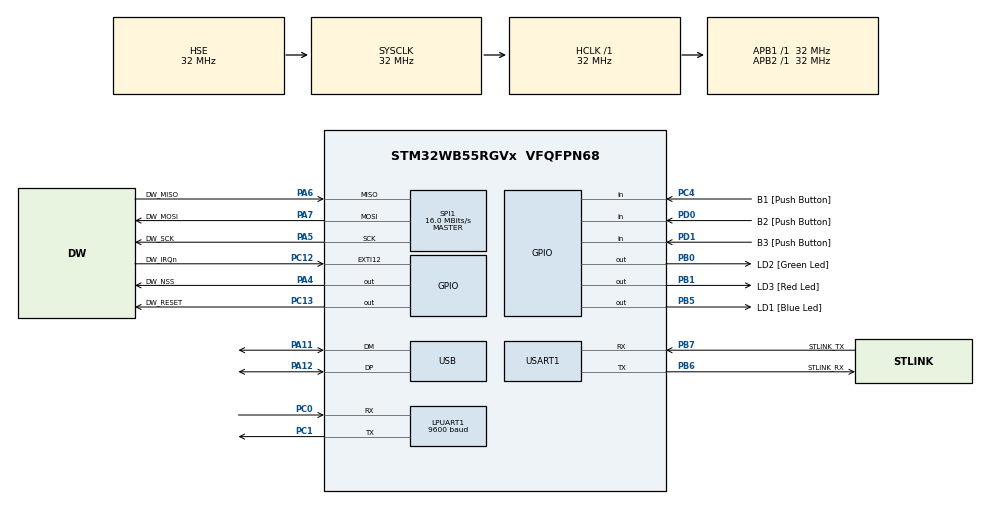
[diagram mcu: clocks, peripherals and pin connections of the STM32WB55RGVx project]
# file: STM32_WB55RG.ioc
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LPUART1.BaudRate=9600
Mcu.Family=STM32WB
Mcu.Name=STM32WB55RGVx
Mcu.Package=VFQFPN68
NVIC.HSEM_IRQn=true\:0\:0\:false\:false\:true\:false\:true\:true
NVIC.IPCC_C1_RX_IRQn=true\:0\:0\:false\:false\:true\:true\:true\:true
NVIC.IPCC_C1_TX_IRQn=true\:0\:0\:false\:false\:true\:true\:true\:true
NVIC.PriorityGroup=NVIC_PRIORITYGROUP_4
NVIC.RTC_WKUP_IRQn=true\:0\:0\:false\:false\:true\:true\:true\:true
NVIC.USB_LP_IRQn=true\:0\:0\:false\:false\:true\:false\:true\:true
OSC_IN.Mode=HSE-External-Oscillator
OSC_IN.Signal=RCC_OSC_IN
OSC_OUT.Mode=HSE-External-Oscillator
OSC_OUT.Signal=RCC_OSC_OUT
PA11.Mode=Device
PA11.Signal=USB_DM
PA12.Mode=Device
PA12.Signal=USB_DP
PA13.GPIO_Label=JTMS
PA13.Mode=Trace_Asynchronous_SW
PA13.Signal=SYS_JTMS-SWDIO
PA14.GPIO_Label=JTCK
PA14.Mode=Trace_Asynchronous_SW
PA14.Signal=SYS_JTCK-SWCLK
PA4.GPIO_Label=DW_NSS
PA4.GPIO_PuPd=GPIO_PULLUP
PA4.GPIO_Speed=GPIO_SPEED_FREQ_MEDIUM
PA4.PinState=GPIO_PIN_SET
PA4.Signal=GPIO_Output
PA5.GPIO_Label=DW_SCK
PA5.GPIO_Speed=GPIO_SPEED_FREQ_VERY_HIGH
PA5.Mode=Full_Duplex_Master
PA5.Signal=SPI1_SCK
PA6.GPIO_Label=DW_MISO
PA6.GPIO_Speed=GPIO_SPEED_FREQ_VERY_HIGH
PA6.Mode=Full_Duplex_Master
PA6.Signal=SPI1_MISO
PA7.GPIO_Label=DW_MOSI
PA7.GPIO_Speed=GPIO_SPEED_FREQ_VERY_HIGH
PA7.Mode=Full_Duplex_Master
PA7.Signal=SPI1_MOSI
PB0.GPIO_Label=LD2 [Green Led]
PB0.Signal=GPIO_Output
PB1.GPIO_Label=LD3 [Red Led]
PB1.Signal=GPIO_Output
PB3.GPIO_Label=JTDO
PB3.Mode=Trace_Asynchronous_SW
PB3.Signal=SYS_JTDO-SWO
PB5.GPIO_Label=LD1 [Blue Led]
PB5.Signal=GPIO_Output
PB6.GPIO_Label=STLINK_RX
PB6.GPIO_PuPd=GPIO_PULLUP
PB6.GPIO_Speed=GPIO_SPEED_FREQ_LOW
PB6.Mode=Asynchronous
PB6.Signal=USART1_TX
PB7.GPIO_Label=STLINK_TX
PB7.GPIO_PuPd=GPIO_PULLUP
PB7.GPIO_Speed=GPIO_SPEED_FREQ_LOW
PB7.Mode=Asynchronous
PB7.Signal=USART1_RX
PC0.Mode=Asynchronous
PC0.Signal=LPUART1_RX
PC1.Mode=Asynchronous
PC1.Signal=LPUART1_TX
PC12.GPIO_Label=DW_IRQn
PC12.Signal=GPXTI12
PC13.GPIO_Label=DW_RESET
PC13.GPIO_ModeDefaultOutputPP=GPIO_MODE_OUTPUT_OD
PC13.GPIO_PuPd=GPIO_NOPULL
PC13.GPIO_Speed=GPIO_SPEED_FREQ_LOW
PC13.Signal=GPIO_Output
PC14-OSC32_IN.Mode=LSE-External-Oscillator
PC14-OSC32_IN.Signal=RCC_OSC32_IN
PC15-OSC32_OUT.Mode=LSE-External-Oscillator
PC15-OSC32_OUT.Signal=RCC_OSC32_OUT
PC4.GPIO_Label=B1 [Push Button]
PC4.Signal=GPIO_Input
PD0.GPIO_Label=B2 [Push Button]
PD0.Signal=GPIO_Input
PD1.GPIO_Label=B3 [Push Button]
PD1.Signal=GPIO_Input
ProjectManager.HeapSize=0x400
ProjectManager.StackSize=0x1000
ProjectManager.TargetToolchain=STM32CubeIDE
RCC.ADCFreq_Value=48000000
RCC.AHBFreq_Value=32000000
RCC.APB1Freq_Value=32000000
RCC.APB1TimFreq_Value=32000000
RCC.APB2Freq_Value=32000000
RCC.APB2TimFreq_Value=32000000
RCC.APB3Freq_Value=16000000
RCC.CortexFreq_Value=32000000
RCC.HCLKFreq_Value=32000000
RCC.HSE_VALUE=32000000
RCC.HSI48_VALUE=48000000
RCC.HSI_VALUE=16000000
RCC.LSE_Drive_Capability=RCC_LSEDRIVE_LOW
RCC.PLLN=32
RCC.PLLSAI1N=24
RCC.RFWKPClockSelection=RCC_RFWKPCLKSOURCE_LSE
RCC.RTCClockSelection=RCC_RTCCLKSOURCE_LSE
RCC.SMPSCLockSelection=RCC_SMPSCLKSOURCE_HSI
RCC.SMPSCLockSelectionVirtual=RCC_SMPSCLKSOURCE_HSI
RCC.SMPSCLockSelectionVirtualVirtual=RCC_SMPSCLKSOURCE_HSI
RCC.SYSCLKFreq_VALUE=32000000
RCC.SYSCLKSource=RCC_SYSCLKSOURCE_HSE
RCC.USBFreq_Value=48000000
RCC.VCOOutputFreq_Value=128000000
SPI1.BaudRatePrescaler=SPI_BAUDRATEPRESCALER_2
SPI1.CalculateBaudRate=16.0 MBits/s
SPI1.DataSize=SPI_DATASIZE_8BIT
SPI1.Direction=SPI_DIRECTION_2LINES
SPI1.Mode=SPI_MODE_MASTER
SPI1.NSSPMode=SPI_NSS_PULSE_DISABLE
SPI1.VirtualType=VM_MASTER
USART1.VirtualMode-Asynchronous=VM_ASYNC
USART1.WordLength=WORDLENGTH_8B
USB_DEVICE.CLASS_NAME_FS=CDC
USB_DEVICE.VirtualMode=Cdc
USB_DEVICE.VirtualModeFS=Cdc_FS
VP_HSEM_VS_HSEM.Mode=HSEM_Activate
VP_IPCC_VS_IPCC.Mode=IPCC_Activate
VP_MEMORYMAP_VS_MEMORYMAP.Mode=CurAppReg
VP_RTC_VS_RTC_Activate.Mode=RTC_Enabled
VP_RTC_VS_RTC_WakeUp_intern.Mode=WakeUp
VP_USB_DEVICE_VS_USB_DEVICE_CDC_FS.Mode=CDC_FS
board=NUCLEO-WB55RG

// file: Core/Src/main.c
/* USER CODE BEGIN Header */
/**
  ******************************************************************************
  * @file           : main.c
  * @brief          : Main program body
  ******************************************************************************
  * @attention
  *
  * Copyright (c) 2024 STMicroelectronics.
  * All rights reserved.
  *
  * This software is licensed under terms that can be found in the LICENSE file
  * in the root directory of this software component.
  * If no LICENSE file comes with this software, it is provided AS-IS.
  *
  ******************************************************************************
  */
/* USER CODE END Header */
#include "main.h"
#include "usb_device.h"

/* USER CODE BEGIN Includes */
#include <stdio.h>
#include <port.h>

#include "Applications/Tag_app/tag_app.h"
#include "Applications/Anchor_app/anchor_app.h"
/* USER CODE END Includes */

IPCC_HandleTypeDef hipcc;

UART_HandleTypeDef hlpuart1;
UART_HandleTypeDef huart1;

RTC_HandleTypeDef hrtc;

SPI_HandleTypeDef hspi1;

/* USER CODE BEGIN PV */
SPI_HandleTypeDef   hspi4;
SPI_HandleTypeDef   *hcurrent_active_spi=&hspi1;//Is the current active SPI pointer - 1 or 2
uint16_t            pin_io_active_spi=DW_NSS_Pin;//CS IO for SPI. Default SPI1
GPIO_PinState       SPI_CS_state=GPIO_PIN_RESET;//Determine the CS for the IO
host_using_spi_e    host_spi = SPI_1;

/* USER CODE END PV */

void SystemClock_Config(void);
void PeriphCommonClock_Config(void);
static void MX_GPIO_Init(void);
static void MX_IPCC_Init(void);
static void MX_RTC_Init(void);
static void MX_SPI1_Init(void);
static void MX_LPUART1_UART_Init(void);

/* USER CODE BEGIN 0 */
void test_run_info(unsigned char *data)
{
    uint16_t data_length;

    data_length = strlen((const char *)data);

    HAL_UART_Transmit(&huart1, (uint8_t *)data, data_length, HAL_MAX_DELAY);
    uint8_t newline[] = "\n\r";
    HAL_UART_Transmit(&huart1, newline, sizeof(newline) - 1, HAL_MAX_DELAY);
}

/* Overwritting _write function - for printf() */
void delay_us(uint32_t us)
{
	//Todo: Implement this if needed.
}

#define TAG_APP
//#define ANCHOR_APP

/* USER CODE END 0 */

int main(void)
{

  /* MCU Configuration--------------------------------------------------------*/

  /* Reset of all peripherals, Initializes the Flash interface and the Systick. */
  HAL_Init();

  /* Configure the system clock */
  SystemClock_Config();

/* Configure the peripherals common clocks */
  PeriphCommonClock_Config();

  /* IPCC initialisation */
  MX_IPCC_Init();

  /* Initialize all configured peripherals */
  MX_GPIO_Init();
  MX_USB_Device_Init();
  MX_RTC_Init();
  MX_SPI1_Init();
  MX_LPUART1_UART_Init();
  /* USER CODE BEGIN 2 */
  MX_USART1_UART_Init();    // Added externally

#if defined(TAG_APP)

  tag_application(1);

#elif  defined(ANCHOR_APP)

  uint16_t coordinates[3] = {10000,20000,30000};  // In centimeters
  anchor_application(2,coordinates);

#else
	#error "Define either TAG_APP or ANCHOR_APP before compiling."
#endif

  //simple_tx();
  //simple_rx();

  /* USER CODE END 2 */

  /* Infinite loop */
  /* USER CODE BEGIN WHILE */
//   uint8_t data[4];
//  double x = 65.3456;
//  double y = 102.345677;
//  uint16_t x_cm = (uint16_t)(x * 100);
//  uint16_t y_cm = (uint16_t)(y * 100);
////  memcpy(&data_array[0], &x_cm, sizeof(x_cm));  // Store x_cm at the start of the array
////  memcpy(&data_array[2], &y_cm, sizeof(y_cm));  // Store y_cm after x_cm
//   	  data[0] = (uint8_t)(x_cm & 0xFF);        // X LSB
//      data[1] = (uint8_t)((x_cm >> 8) & 0xFF); // X MSB
//      data[2] = (uint8_t)(y_cm & 0xFF);        // Y LSB
//      data[3] = (uint8_t)((y_cm >> 8) & 0xFF); // Y MSB
  //tag_app_init();
  //int num = 0;
  //unsigned char buff[5];
  while (1)
  {
	  //snprintf(buff,sizeof(buff),"%d",num);
	  //test_run_info("");
	  //HAL_Delay(1000);
	  //num++;
//	  printf("Hello %d\n",num);
//	  HAL_Delay(1000);
//	  num+=1;
    /* USER CODE END WHILE */

  }
}

void SystemClock_Config(void)
{
  RCC_OscInitTypeDef RCC_OscInitStruct = {0};
  RCC_ClkInitTypeDef RCC_ClkInitStruct = {0};

  /** Macro to configure the PLL multiplication factor
  */
  __HAL_RCC_PLL_PLLM_CONFIG(RCC_PLLM_DIV1);

  /** Macro to configure the PLL clock source
  */
  __HAL_RCC_PLL_PLLSOURCE_CONFIG(RCC_PLLSOURCE_MSI);

  /** Configure LSE Drive Capability
  */
  HAL_PWR_EnableBkUpAccess();
  __HAL_RCC_LSEDRIVE_CONFIG(RCC_LSEDRIVE_LOW);

  /** Configure the main internal regulator output voltage
  */
  __HAL_PWR_VOLTAGESCALING_CONFIG(PWR_REGULATOR_VOLTAGE_SCALE1);

  /** Initializes the RCC Oscillators according to the specified parameters
  * in the RCC_OscInitTypeDef structure.
  */
  RCC_OscInitStruct.OscillatorType = RCC_OSCILLATORTYPE_HSI|RCC_OSCILLATORTYPE_HSE
                              |RCC_OSCILLATORTYPE_LSE|RCC_OSCILLATORTYPE_MSI;
  RCC_OscInitStruct.HSEState = RCC_HSE_ON;
  RCC_OscInitStruct.LSEState = RCC_LSE_ON;
  RCC_OscInitStruct.HSIState = RCC_HSI_ON;
  RCC_OscInitStruct.MSIState = RCC_MSI_ON;
  RCC_OscInitStruct.HSICalibrationValue = RCC_HSICALIBRATION_DEFAULT;
  RCC_OscInitStruct.MSICalibrationValue = RCC_MSICALIBRATION_DEFAULT;
  RCC_OscInitStruct.MSIClockRange = RCC_MSIRANGE_6;
  RCC_OscInitStruct.PLL.PLLState = RCC_PLL_NONE;
  if (HAL_RCC_OscConfig(&RCC_OscInitStruct) != HAL_OK)
  {
    Error_Handler();
  }

  /** Configure the SYSCLKSource, HCLK, PCLK1 and PCLK2 clocks dividers
  */
  RCC_ClkInitStruct.ClockType = RCC_CLOCKTYPE_HCLK4|RCC_CLOCKTYPE_HCLK2
                              |RCC_CLOCKTYPE_HCLK|RCC_CLOCKTYPE_SYSCLK
                              |RCC_CLOCKTYPE_PCLK1|RCC_CLOCKTYPE_PCLK2;
  RCC_ClkInitStruct.SYSCLKSource = RCC_SYSCLKSOURCE_HSE;
  RCC_ClkInitStruct.AHBCLKDivider = RCC_SYSCLK_DIV1;
  RCC_ClkInitStruct.APB1CLKDivider = RCC_HCLK_DIV1;
  RCC_ClkInitStruct.APB2CLKDivider = RCC_HCLK_DIV1;
  RCC_ClkInitStruct.AHBCLK2Divider = RCC_SYSCLK_DIV1;
  RCC_ClkInitStruct.AHBCLK4Divider = RCC_SYSCLK_DIV1;

  if (HAL_RCC_ClockConfig(&RCC_ClkInitStruct, FLASH_LATENCY_1) != HAL_OK)
  {
    Error_Handler();
  }

  /** Enable MSI Auto calibration
  */
  HAL_RCCEx_EnableMSIPLLMode();
}

void PeriphCommonClock_Config(void)
{
  RCC_PeriphCLKInitTypeDef PeriphClkInitStruct = {0};

  /** Initializes the peripherals clock
  */
  PeriphClkInitStruct.PeriphClockSelection = RCC_PERIPHCLK_SMPS;
  PeriphClkInitStruct.SmpsClockSelection = RCC_SMPSCLKSOURCE_HSI;
  PeriphClkInitStruct.SmpsDivSelection = RCC_SMPSCLKDIV_RANGE1;

  if (HAL_RCCEx_PeriphCLKConfig(&PeriphClkInitStruct) != HAL_OK)
  {
    Error_Handler();
  }
}

static void MX_IPCC_Init(void)
{

  hipcc.Instance = IPCC;
  if (HAL_IPCC_Init(&hipcc) != HAL_OK)
  {
    Error_Handler();
  }

}

static void MX_LPUART1_UART_Init(void)
{

  hlpuart1.Instance = LPUART1;
  hlpuart1.Init.BaudRate = 9600;
  hlpuart1.Init.WordLength = UART_WORDLENGTH_8B;
  hlpuart1.Init.StopBits = UART_STOPBITS_1;
  hlpuart1.Init.Parity = UART_PARITY_NONE;
  hlpuart1.Init.Mode = UART_MODE_TX_RX;
  hlpuart1.Init.HwFlowCtl = UART_HWCONTROL_NONE;
  hlpuart1.Init.OneBitSampling = UART_ONE_BIT_SAMPLE_DISABLE;
  hlpuart1.Init.ClockPrescaler = UART_PRESCALER_DIV1;
  hlpuart1.AdvancedInit.AdvFeatureInit = UART_ADVFEATURE_NO_INIT;
  hlpuart1.FifoMode = UART_FIFOMODE_DISABLE;
  if (HAL_UART_Init(&hlpuart1) != HAL_OK)
  {
    Error_Handler();
  }
  if (HAL_UARTEx_SetTxFifoThreshold(&hlpuart1, UART_TXFIFO_THRESHOLD_1_8) != HAL_OK)
  {
    Error_Handler();
  }
  if (HAL_UARTEx_SetRxFifoThreshold(&hlpuart1, UART_RXFIFO_THRESHOLD_1_8) != HAL_OK)
  {
    Error_Handler();
  }
  if (HAL_UARTEx_DisableFifoMode(&hlpuart1) != HAL_OK)
  {
    Error_Handler();
  }

}

void MX_USART1_UART_Init(void)
{

  huart1.Instance = USART1;
  huart1.Init.BaudRate = 115200;
  huart1.Init.WordLength = UART_WORDLENGTH_8B;
  huart1.Init.StopBits = UART_STOPBITS_1;
  huart1.Init.Parity = UART_PARITY_NONE;
  huart1.Init.Mode = UART_MODE_TX_RX;
  huart1.Init.HwFlowCtl = UART_HWCONTROL_NONE;
  huart1.Init.OverSampling = UART_OVERSAMPLING_16;
  huart1.Init.OneBitSampling = UART_ONE_BIT_SAMPLE_DISABLE;
  huart1.Init.ClockPrescaler = UART_PRESCALER_DIV1;
  huart1.AdvancedInit.AdvFeatureInit = UART_ADVFEATURE_NO_INIT;
  if (HAL_UART_Init(&huart1) != HAL_OK)
  {
    Error_Handler();
  }
  if (HAL_UARTEx_SetTxFifoThreshold(&huart1, UART_TXFIFO_THRESHOLD_1_8) != HAL_OK)
  {
    Error_Handler();
  }
  if (HAL_UARTEx_SetRxFifoThreshold(&huart1, UART_RXFIFO_THRESHOLD_1_8) != HAL_OK)
  {
    Error_Handler();
  }
  if (HAL_UARTEx_DisableFifoMode(&huart1) != HAL_OK)
  {
    Error_Handler();
  }

}

static void MX_RTC_Init(void)
{

  /** Initialize RTC Only
  */
  hrtc.Instance = RTC;
  hrtc.Init.HourFormat = RTC_HOURFORMAT_24;
  hrtc.Init.AsynchPrediv = 127;
  hrtc.Init.SynchPrediv = 255;
  hrtc.Init.OutPut = RTC_OUTPUT_DISABLE;
  hrtc.Init.OutPutPolarity = RTC_OUTPUT_POLARITY_HIGH;
  hrtc.Init.OutPutType = RTC_OUTPUT_TYPE_OPENDRAIN;
  hrtc.Init.OutPutRemap = RTC_OUTPUT_REMAP_NONE;
  if (HAL_RTC_Init(&hrtc) != HAL_OK)
  {
    Error_Handler();
  }

  /** Enable the WakeUp
  */
  if (HAL_RTCEx_SetWakeUpTimer_IT(&hrtc, 0, RTC_WAKEUPCLOCK_RTCCLK_DIV16) != HAL_OK)
  {
    Error_Handler();
  }

}

static void MX_SPI1_Init(void)
{

  /* SPI1 parameter configuration*/
  hspi1.Instance = SPI1;
  hspi1.Init.Mode = SPI_MODE_MASTER;
  hspi1.Init.Direction = SPI_DIRECTION_2LINES;
  hspi1.Init.DataSize = SPI_DATASIZE_8BIT;
  hspi1.Init.CLKPolarity = SPI_POLARITY_LOW;
  hspi1.Init.CLKPhase = SPI_PHASE_1EDGE;
  hspi1.Init.NSS = SPI_NSS_SOFT;
  hspi1.Init.BaudRatePrescaler = SPI_BAUDRATEPRESCALER_2;
  hspi1.Init.FirstBit = SPI_FIRSTBIT_MSB;
  hspi1.Init.TIMode = SPI_TIMODE_DISABLE;
  hspi1.Init.CRCCalculation = SPI_CRCCALCULATION_DISABLE;
  hspi1.Init.CRCPolynomial = 7;
  hspi1.Init.CRCLength = SPI_CRC_LENGTH_DATASIZE;
  hspi1.Init.NSSPMode = SPI_NSS_PULSE_DISABLE;
  if (HAL_SPI_Init(&hspi1) != HAL_OK)
  {
    Error_Handler();
  }

}

static void MX_GPIO_Init(void)
{
  GPIO_InitTypeDef GPIO_InitStruct = {0};

  /* GPIO Ports Clock Enable */
  __HAL_RCC_GPIOC_CLK_ENABLE();
  __HAL_RCC_GPIOA_CLK_ENABLE();
  __HAL_RCC_GPIOB_CLK_ENABLE();
  __HAL_RCC_GPIOD_CLK_ENABLE();

  /*Configure GPIO pin Output Level */
  HAL_GPIO_WritePin(DW_RESET_GPIO_Port, DW_RESET_Pin, GPIO_PIN_RESET);

  /*Configure GPIO pin Output Level */
  HAL_GPIO_WritePin(DW_NSS_GPIO_Port, DW_NSS_Pin, GPIO_PIN_SET);

  /*Configure GPIO pin Output Level */
  HAL_GPIO_WritePin(GPIOB, LD2_Pin|LD3_Pin|LD1_Pin, GPIO_PIN_RESET);

  /*Configure GPIO pin : DW_RESET_Pin */
  GPIO_InitStruct.Pin = DW_RESET_Pin;
  GPIO_InitStruct.Mode = GPIO_MODE_OUTPUT_OD;
  GPIO_InitStruct.Pull = GPIO_NOPULL;
  GPIO_InitStruct.Speed = GPIO_SPEED_FREQ_LOW;
  HAL_GPIO_Init(DW_RESET_GPIO_Port, &GPIO_InitStruct);

  /*Configure GPIO pin : DW_NSS_Pin */
  GPIO_InitStruct.Pin = DW_NSS_Pin;
  GPIO_InitStruct.Mode = GPIO_MODE_OUTPUT_PP;
  GPIO_InitStruct.Pull = GPIO_PULLUP;
  GPIO_InitStruct.Speed = GPIO_SPEED_FREQ_MEDIUM;
  HAL_GPIO_Init(DW_NSS_GPIO_Port, &GPIO_InitStruct);

  /*Configure GPIO pin : B1_Pin */
  GPIO_InitStruct.Pin = B1_Pin;
  GPIO_InitStruct.Mode = GPIO_MODE_INPUT;
  GPIO_InitStruct.Pull = GPIO_NOPULL;
  HAL_GPIO_Init(B1_GPIO_Port, &GPIO_InitStruct);

  /*Configure GPIO pins : LD2_Pin LD3_Pin LD1_Pin */
  GPIO_InitStruct.Pin = LD2_Pin|LD3_Pin|LD1_Pin;
  GPIO_InitStruct.Mode = GPIO_MODE_OUTPUT_PP;
  GPIO_InitStruct.Pull = GPIO_NOPULL;
  GPIO_InitStruct.Speed = GPIO_SPEED_FREQ_LOW;
  HAL_GPIO_Init(GPIOB, &GPIO_InitStruct);

  /*Configure GPIO pin : DW_IRQn_Pin */
  GPIO_InitStruct.Pin = DW_IRQn_Pin;
  GPIO_InitStruct.Mode = GPIO_MODE_IT_RISING;
  GPIO_InitStruct.Pull = GPIO_NOPULL;
  HAL_GPIO_Init(DW_IRQn_GPIO_Port, &GPIO_InitStruct);

  /*Configure GPIO pins : B2_Pin B3_Pin */
  GPIO_InitStruct.Pin = B2_Pin|B3_Pin;
  GPIO_InitStruct.Mode = GPIO_MODE_INPUT;
  GPIO_InitStruct.Pull = GPIO_NOPULL;
  HAL_GPIO_Init(GPIOD, &GPIO_InitStruct);

}

void Error_Handler(void)
{
  __disable_irq();
  while (1)
  {
  }
}
